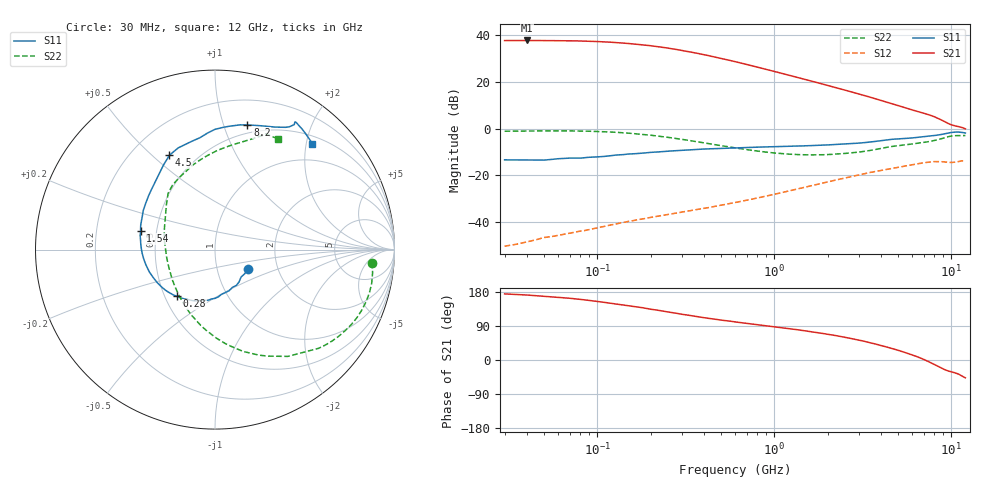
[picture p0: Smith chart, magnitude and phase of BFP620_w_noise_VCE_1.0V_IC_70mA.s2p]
! Infineon Technologies  Discrete & RF Semiconductors
! BFP620
! VCE =  1.0 V,  IC =  70 mA
! Common Emitter S-Parameters:  Nov 2015
# GHz  S  MA  R  50
!  f  S11  S21  S12  S22
! GHz  MAG  ANG  MAG  ANG  MAG  ANG  MAG  ANG
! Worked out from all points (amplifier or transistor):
!   239 points, 30 MHz to 12 GHz, reference 50 ohm
!   highest |S21| = 37.8 dB at 40 MHz (marker M1)
!   |S21| within 3 dB of that: start of sweep to 236.9 MHz
!   unconditionally stable (mu >= 1): 1.527 GHz to end of sweep
!   at 300 MHz: K = 0.59, MSG = 34.7 dB, |S12| = -35.9 dB
!   at 1.88 GHz: K = 1.02, MAG = 20.4 dB, |S12| = -23.4 dB
!   at 12 GHz: K = 1.09, MAG = 5.1 dB, |S12| = -13.9 dB
!   lowest NFmin = 1.85 dB at 450 MHz
!   S11 on the Smith chart (normalised r, x): 30 MHz: 1.41, -0.32; 280 MHz: 0.58, -0.34; 1.54 GHz: 0.41, +0.10; 4.5 GHz: 0.36, +0.57; 8.2 GHz: 0.42, +1.20; 12 GHz: 0.64, +2.12
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0.03  0.2133 -30.7  77.1 174.4  0.003 98.8  0.8767 -4.8
0.04  0.2135 -39.1  77.53 171.5  0.0037 93.8  0.8874 -8.3
0.07  0.2322 -59.2  76.59 162.9  0.0057 83.2  0.8903 -19.1
0.085  0.2366 -68.2  75.11 158.7  0.0065 80.0  0.8801 -24.1
0.095  0.244 -73.6  74.11 156.0  0.0071 78.2  0.8709 -27.4
0.12  0.2636 -85.7  71.03 149.8  0.0086 74.8  0.8412 -35.1
0.15  0.2842 -97.5  66.74 143.3  0.0102 72.3  0.7975 -43.6
0.175  0.2939 -105.0  63.08 139.0  0.0113 70.3  0.7547 -49.3
0.2  0.3083 -112.0  59.81 134.1  0.0124 68.7  0.7203 -55.7
0.24  0.3228 -121.5  54.48 128.3  0.0139 67.3  0.662 -63.7
0.28  0.3359 -129.1  49.7 123.3  0.0154 66.2  0.6111 -70.9
0.3  0.343 -132.6  47.44 120.7  0.0161 65.7  0.5883 -74.6
0.4  0.3634 -145.1  38.46 111.7  0.0194 64.7  0.4939 -89.0
0.5  0.3765 -154.4  31.92 105.3  0.0227 64.4  0.4295 -100.7
0.6  0.3864 -161.2  27.2 100.4  0.0259 64.6  0.3852 -110.5
0.9  0.4048 -175.6  18.54 90.2  0.0356 64.3  0.312 -133.4
1.54  0.4276 166.0  10.98 76.1  0.0568 59.9  0.2728 -164.9
1.64  0.4321 163.6  10.3 74.2  0.06 59.0  0.2722 -168.8
2.6  0.4702 143.7  6.418 58.4  0.09 49.0  0.2963 162.7
4.5  0.5838 115.8  3.5 31.7  0.1375 27.5  0.4077 129.9
8.2  0.717 75.4  1.723 -14.4  0.1954 -13.3  0.5655 85.7
12  0.8022 47.4  0.987 -47.0  0.2015 -42.7  0.7098 60.6
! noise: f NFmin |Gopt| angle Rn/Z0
0.45  1.85  0.39  -167  0.1
0.9  1.87  0.42  -156  0.11
1.9  1.88  0.44  -140  0.15
2.4  1.92  0.45  -137  0.16
3.5  1.99  0.48  -107  0.3
5.5  2.26  0.48  -85  0.45
10  2.54  0.69  -41  1.65
